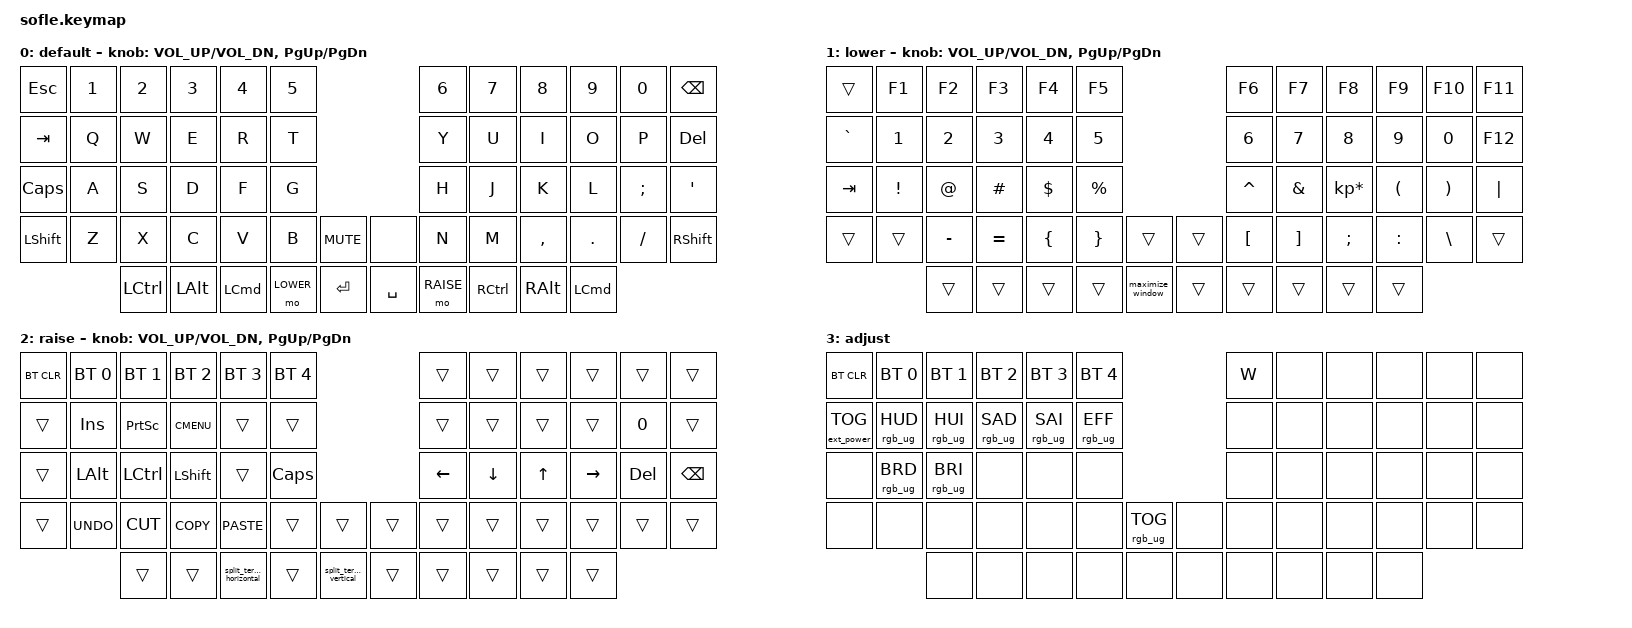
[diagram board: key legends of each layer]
/*
 * Copyright (c) 2020 The ZMK Contributors
 *
 * SPDX-License-Identifier: MIT
 */

#include <behaviors.dtsi>
#include <dt-bindings/zmk/bt.h>
#include <dt-bindings/zmk/ext_power.h>
#include <dt-bindings/zmk/keys.h>
#include <dt-bindings/zmk/rgb.h>

#define BASE 0
#define LOWER 1
#define RAISE 2
#define ADJUST 3

/ {
    // Activate ADJUST layer by pressing raise and lower

    conditional_layers {
        compatible = "zmk,conditional-layers";

        adjust_layer {
            if-layers = <LOWER RAISE>;
            then-layer = <ADJUST>;
        };
    };

    macros {
        split_terminal_vertical: split_terminal {
            compatible = "zmk,behavior-macro";
            #binding-cells = <0>;
            bindings = <&kp LS(LC(LA(N5)))>;
            label = "SPLIT_TERMINAL";
        };

        maximize_window: maximize_window {
            compatible = "zmk,behavior-macro";
            #binding-cells = <0>;
            bindings = <&kp LA(LC(ENTER))>;
            label = "MAXIMIZE_WINDOW";
        };

        split_terminal_horizontal: split_terminal_horizontal {
            compatible = "zmk,behavior-macro";
            #binding-cells = <0>;
            bindings = <&kp LS(LC(LA(SQT)))>;
            label = "SPLIT_TERMINAL_HORIZONTAL";
        };
    };

    keymap {
        compatible = "zmk,keymap";

        default_layer {
            label = "default";

            // ------------------------------------------------------------------------------------------------------------
            // |   `   |  1  |  2  |  3   |  4   |  5   |                   |  6   |  7    |  8    |  9   |   0   |       |
            // |  ESC  |  Q  |  W  |  E   |  R   |  T   |                   |  Y   |  U    |  I    |  O   |   P   | BKSPC |
            // |  TAB  |  A  |  S  |  D   |  F   |  G   |                   |  H   |  J    |  K    |  L   |   ;   |   '   |
            // | SHIFT |  Z  |  X  |  C   |  V   |  B   |  MUTE  |  |       |  N   |  M    |  ,    |  .   |   /   | SHIFT |
            //               | GUI | ALT  | CTRL | LOWER|  ENTER |  | SPACE | RAISE| CTRL  | ALT   | GUI  |

            bindings = <
&kp ESC       &kp N1  &kp N2     &kp N3    &kp N4            &kp N5                              &kp N6     &kp N7     &kp N8     &kp N9    &kp N0    &kp BACKSPACE
&kp TAB       &kp Q   &kp W      &kp E     &kp R             &kp T                               &kp Y      &kp U      &kp I      &kp O     &kp P     &kp DELETE
&kp CAPSLOCK  &kp A   &kp S      &kp D     &kp F             &kp G                               &kp H      &kp J      &kp K      &kp L     &kp SEMI  &kp SQT
&kp LSHFT     &kp Z   &kp X      &kp C     &kp V             &kp B      &kp C_MUTE    &none      &kp N      &kp M      &kp COMMA  &kp DOT   &kp FSLH  &kp RSHFT
                      &kp LCTRL  &kp LALT  &kp LEFT_COMMAND  &mo LOWER  &kp RET       &kp SPACE  &mo RAISE  &kp RCTRL  &kp RALT   &kp LCMD
            >;

            sensor-bindings = <&inc_dec_kp C_VOL_UP C_VOL_DN &inc_dec_kp PG_UP PG_DN>;
        };

        lower_layer {
            label = "lower";

            // TODO: Some binds are waiting for shifted keycode support.
            // ------------------------------------------------------------------------------------------------------------
            // |       |  F1 |  F2 |  F3  |  F4  |  F5  |                   |  F6  |  F7   |  F8   |  F9  |  F10  |  F11  |
            // |   `   |  1  |  2  |  3   |  4   |  5   |                   |  6   |  7    |  8    |  9   |   0   |  F12  |
            // |       |  !  |  @  |  #   |  $   |  %   |                   |  ^   |  &    |  *    |  (   |   )   |   |   |
            // |       |  =  |  -  |  +   |  {   |  }   |        |  |       |  [   |  ]    |  ;    |  :   |   \   |       |
            //               |     |      |      |      |        |  |       |      |       |       |      |

            bindings = <
&trans     &kp F1    &kp F2     &kp F3     &kp F4    &kp F5                                 &kp F6     &kp F7    &kp F8           &kp F9     &kp F10   &kp F11
&kp GRAVE  &kp N1    &kp N2     &kp N3     &kp N4    &kp N5                                 &kp N6     &kp N7    &kp N8           &kp N9     &kp N0    &kp F12
&kp TAB    &kp EXCL  &kp AT     &kp HASH   &kp DLLR  &kp PRCNT                              &kp CARET  &kp AMPS  &kp KP_MULTIPLY  &kp LPAR   &kp RPAR  &kp PIPE
&trans     &trans    &kp MINUS  &kp EQUAL  &kp LBRC  &kp RBRC   &trans              &trans  &kp LBKT   &kp RBKT  &kp SEMI         &kp COLON  &kp BSLH  &trans
                     &trans     &trans     &trans    &trans     &maximize_window    &trans  &trans     &trans    &trans           &trans
            >;

            sensor-bindings = <&inc_dec_kp C_VOL_UP C_VOL_DN &inc_dec_kp PG_UP PG_DN>;
        };

        raise_layer {
            label = "raise";

            // ------------------------------------------------------------------------------------------------------------
            // | BTCLR | BT1  | BT2  |  BT3  |  BT4  |  BT5 |                |      |      |       |      |       |       |
            // |       | INS  | PSCR | GUI   |       |      |                | PGUP |      |   ^   |      |       |       |
            // |       | ALT  | CTRL | SHIFT |       | CAPS |                | PGDN |   <- |   v   |  ->  |  DEL  | BKSPC |
            // |       | UNDO | CUT  | COPY  | PASTE |      |      |  |      |      |      |       |      |       |       |
            //                |      |       |       |      |      |  |      |      |      |       |      |

            bindings = <
&bt BT_CLR  &bt BT_SEL 0  &bt BT_SEL 1  &bt BT_SEL 2  &bt BT_SEL 3                &bt BT_SEL 4                                      &trans    &trans          &trans        &trans     &trans   &trans
&trans      &kp INS       &kp PSCRN     &kp K_CMENU   &trans                      &trans                                            &trans    &trans          &trans        &trans     &kp N0   &trans
&trans      &kp LALT      &kp LCTRL     &kp LSHFT     &trans                      &kp CLCK                                          &kp LEFT  &kp DOWN_ARROW  &kp UP_ARROW  &kp RIGHT  &kp DEL  &kp BSPC
&trans      &kp K_UNDO    &kp K_CUT     &kp K_COPY    &kp K_PASTE                 &trans        &trans                      &trans  &trans    &trans          &trans        &trans     &trans   &trans
                          &trans        &trans        &split_terminal_horizontal  &trans        &split_terminal_vertical    &trans  &trans    &trans          &trans        &trans
            >;

            sensor-bindings = <&inc_dec_kp C_VOL_UP C_VOL_DN &inc_dec_kp PG_UP PG_DN>;
        };

        adjust_layer {
            // ----------------------------------------------------------------------------------------------------------------------------
            // | BTCLR  |  BT1    |  BT2    |   BT3   |   BT4   |   BT5   |                  |      |      |       |      |       |       |
            // | EXTPWR | RGB_HUD | RGB_HUI | RGB_SAD | RGB_SAI | RGB_EFF |                  |      |      |       |      |       |       |
            // |        | RGB_BRD | RGB_BRI |         |         |         |                  |      |      |       |      |       |       |
            // |        |         |         |         |         |         | RGB_TOG | |      |      |      |       |      |       |       |
            //                    |         |         |         |         |         | |      |      |      |       |      |

            label = "adjust";
            bindings = <
&bt BT_CLR         &bt BT_SEL 0     &bt BT_SEL 1     &bt BT_SEL 2     &bt BT_SEL 3     &bt BT_SEL 4                               &kp W  &none  &none  &none  &none  &none
&ext_power EP_TOG  &rgb_ug RGB_HUD  &rgb_ug RGB_HUI  &rgb_ug RGB_SAD  &rgb_ug RGB_SAI  &rgb_ug RGB_EFF                            &none  &none  &none  &none  &none  &none
&none              &rgb_ug RGB_BRD  &rgb_ug RGB_BRI  &none            &none            &none                                      &none  &none  &none  &none  &none  &none
&none              &none            &none            &none            &none            &none            &rgb_ug RGB_TOG    &none  &none  &none  &none  &none  &none  &none
                                    &none            &none            &none            &none            &none              &none  &none  &none  &none  &none
            >;
        };
    };
};
